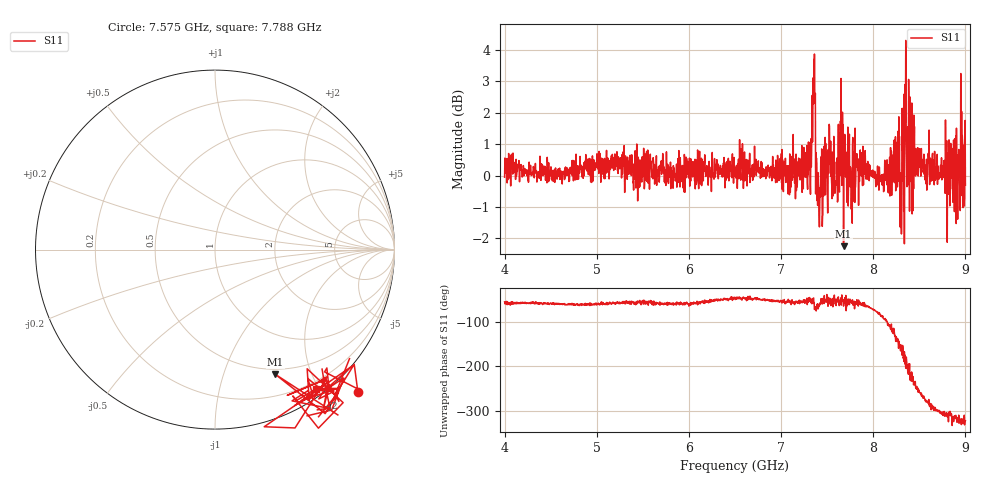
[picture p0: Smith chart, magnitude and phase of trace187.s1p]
! Created with skrf 1.8.0 (http://scikit-rf.org).
# Hz S RI R 50.0
!freq ReS11 ImS11
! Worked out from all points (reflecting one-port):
!   1601 points, 4 GHz to 9 GHz, reference 50 ohm
!   lowest |S11| = -2.3 dB at 7.678 GHz (marker M1), VSWR 7.76, Z = 21.9 - j75.2 ohm
!   phase of S11 starts at -55 deg and turns -268 deg over the sweep
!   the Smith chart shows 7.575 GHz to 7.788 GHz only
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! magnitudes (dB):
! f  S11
! 4 GHz  -0.1
! 4.625 GHz  -0.3
! 5.25 GHz  0.3
! 5.875 GHz  -0.1
! 6.5 GHz  0.3
! 7.125 GHz  0.3
! 7.297 GHz  1.1
! 7.319 GHz  -0.6
! 7.347 GHz  3.1
! 7.362 GHz  3.9
! 7.4 GHz  0.1
! 7.412 GHz  -1.2
! 7.538 GHz  1.1
! 7.591 GHz  -0.2
! 7.647 GHz  0.9
! 7.678 GHz  -2.3
! 7.75 GHz  -0.4
! 7.891 GHz  0.0
! 8.097 GHz  0.0
! 8.259 GHz  1.0
! 8.312 GHz  2.1
! 8.338 GHz  -2.2
! 8.375 GHz  1.6
! 8.412 GHz  0.6
! 8.562 GHz  -0.1
! 8.856 GHz  0.5
! 8.972 GHz  0.9
! 9 GHz  -0.3
